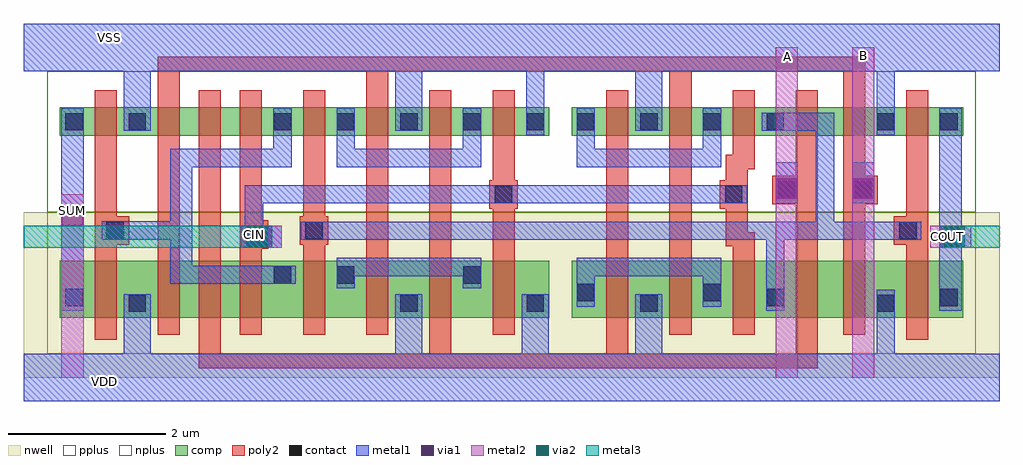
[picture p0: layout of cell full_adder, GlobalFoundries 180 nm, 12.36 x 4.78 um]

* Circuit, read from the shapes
.subckt full_adder A B CIN COUT SUM VDD VSS
XM1 VSS n1 SUM VSUBS nfet_03v3 w=0.36u l=0.28u
XM2 n2 B VSS VSUBS nfet_03v3 w=0.36u l=0.28u
XM3 n3 A n2 VSUBS nfet_03v3 w=0.36u l=0.28u
XM4 n1 CIN n3 VSUBS nfet_03v3 w=0.36u l=0.28u
XM5 n4 n5 n1 VSUBS nfet_03v3 w=0.36u l=0.28u
XM6 VSS B n4 VSUBS nfet_03v3 w=0.36u l=0.28u
XM7 n4 A VSS VSUBS nfet_03v3 w=0.36u l=0.28u
XM8 VSS CIN n4 VSUBS nfet_03v3 w=0.36u l=0.28u
XM9 VSS A n6 VSUBS nfet_03v3 w=0.36u l=0.28u
XM10 n6 B VSS VSUBS nfet_03v3 w=0.36u l=0.28u
XM11 n5 CIN n6 VSUBS nfet_03v3 w=0.36u l=0.28u
XM12 n7 A n5 VSUBS nfet_03v3 w=0.36u l=0.28u
XM13 VSS B n7 VSUBS nfet_03v3 w=0.36u l=0.28u
XM14 COUT n5 VSS VSUBS nfet_03v3 w=0.36u l=0.28u
XM15 VDD n1 SUM n8 pfet_03v3 w=0.72u l=0.28u
XM16 n9 B VDD n8 pfet_03v3 w=0.72u l=0.28u
XM17 n10 A n9 n8 pfet_03v3 w=0.72u l=0.28u
XM18 n1 CIN n10 n8 pfet_03v3 w=0.72u l=0.28u
XM19 n11 n5 n1 n8 pfet_03v3 w=0.72u l=0.28u
XM20 VDD B n11 n8 pfet_03v3 w=0.72u l=0.28u
XM21 n11 A VDD n8 pfet_03v3 w=0.72u l=0.28u
XM22 VDD CIN n11 n8 pfet_03v3 w=0.72u l=0.28u
XM23 VDD A n12 n8 pfet_03v3 w=0.72u l=0.28u
XM24 n12 B VDD n8 pfet_03v3 w=0.72u l=0.28u
XM25 n5 CIN n12 n8 pfet_03v3 w=0.72u l=0.28u
XM26 n13 A n5 n8 pfet_03v3 w=0.72u l=0.28u
XM27 VDD B n13 n8 pfet_03v3 w=0.72u l=0.28u
XM28 COUT n5 VDD n8 pfet_03v3 w=0.72u l=0.28u
.ends

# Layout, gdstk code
import gdstk
lib = gdstk.Library(unit=1e-6, precision=5e-09)
def R(c, l, rs):  # rectangles x0, y0, x1, y1
    for r in rs: c.add(gdstk.rectangle(r[:2], r[2:], *l))
def A(c, l, x, y, w, h, nx, ny, dx, dy):  # array of equal rectangles
    R(c, l, [(x+i*dx, y+j*dy, x+i*dx+w, y+j*dy+h) for i in range(nx) for j in range(ny)])
nwell = (21, 0)
comp = (22, 0)
poly2 = (30, 0)
pplus = (31, 0)
nplus = (32, 0)
contact = (33, 0)
metal1 = (34, 0)
via1 = (35, 0)
metal2 = (36, 0)
via2 = (38, 0)
metal3 = (42, 0)

full_adder = lib.new_cell('full_adder')
R(full_adder, nwell, [(-7.325,-2.205,5.035,-0.115)])
R(full_adder, comp, [(-6.865,-1.445,-0.665,-0.725), (-0.385,-1.445,4.575,-0.725), (-6.865,0.855,-0.665,1.215), (-0.385,0.855,4.575,1.215)])
R(full_adder, poly2, [(-5.105,-2.085,2.735,-1.905), (-5.105,-1.905,-4.825,1.435), (-2.185,-1.905,-1.905,1.435), (0.055,-1.905,0.335,1.435), (2.455,-1.905,2.735,1.435), (-6.425,-1.725,-6.145,1.435), (3.855,-1.725,4.135,1.435), (-5.625,-1.665,-5.345,1.675), (-4.585,-1.665,-4.305,1.435), (-3.785,-1.665,-3.505,1.435), (-2.985,-1.665,-2.705,1.675), (-1.385,-1.665,-1.105,1.435), (0.855,-1.665,1.135,1.675), (1.655,-1.665,1.935,-0.545), (3.055,-1.665,3.335,1.675), (-4.585,-0.575,-4.225,-0.215), (1.57,-0.545,1.935,-0.365), (-6.345,-0.525,-5.985,-0.165), (-3.825,-0.525,-3.465,-0.165), (3.695,-0.525,4.055,-0.165), (1.57,-0.365,1.85,0.435), (-1.425,-0.065,-1.065,0.295), (1.49,-0.065,1.85,0.295), (2.16,-0.01,2.52,0.35), (3.13,-0.01,3.49,0.35), (1.57,0.435,1.935,0.615), (1.655,0.615,1.935,1.435), (-5.625,1.675,3.335,1.855)])
R(full_adder, pplus, [(-7.025,-1.905,4.735,-0.115)])
R(full_adder, nplus, [(-7.025,-0.115,4.735,1.675)])
A(full_adder, contact, -4.155, 0.925, 0.22, 0.22, 5, 1, 0.8, 0)
A(full_adder, contact, -0.315, 0.925, 0.22, 0.22, 4, 1, 0.8, 0)
R(full_adder, contact, [(-5.995,-1.375,-5.775,-1.155), (-2.555,-1.375,-2.335,-1.155), (-0.955,-1.375,-0.735,-1.155), (0.485,-1.375,0.705,-1.155), (3.485,-1.375,3.705,-1.155), (-6.795,-1.3,-6.575,-1.08), (2.085,-1.3,2.305,-1.08), (4.285,-1.3,4.505,-1.08), (-0.315,-1.24,-0.095,-1.02), (1.285,-1.24,1.505,-1.02), (-4.155,-1.015,-3.935,-0.795), (-3.355,-1.015,-3.135,-0.795), (-1.755,-1.015,-1.535,-0.795), (-4.515,-0.505,-4.295,-0.285), (-6.275,-0.455,-6.055,-0.235), (-3.755,-0.455,-3.535,-0.235), (3.765,-0.455,3.985,-0.235), (-1.355,0.005,-1.135,0.225), (1.56,0.005,1.78,0.225), (2.23,0.06,2.45,0.28), (3.2,0.06,3.42,0.28), (-6.795,0.925,-6.575,1.145), (-5.995,0.925,-5.775,1.145), (3.485,0.925,3.705,1.145), (4.285,0.925,4.505,1.145)])
R(full_adder, metal1, [(-7.325,-2.505,5.035,-1.905), (-6.055,-1.905,-5.715,-1.15), (-2.615,-1.905,-2.275,-1.15), (-1.015,-1.905,-0.675,-1.15), (0.425,-1.905,0.765,-1.15), (3.48,-1.905,3.71,-1.095), (-6.845,-1.36,-6.565,1.205), (2.08,-1.36,2.31,-0.46), (4.275,-1.36,4.555,1.205), (-0.32,-1.31,-0.09,-0.69), (1.28,-1.31,1.51,-0.69), (-3.36,-1.075,-3.13,-0.69), (-1.76,-1.075,-1.53,-0.69), (-5.465,-1.02,-3.875,-0.79), (-3.13,-0.92,-1.76,-0.69), (-0.09,-0.92,1.28,-0.69), (-5.465,-0.79,-5.185,0.46), (-4.575,-0.56,-4.055,-0.28), (-4.52,-0.56,-4.29,0), (-6.335,-0.46,-5.465,-0.225), (-3.815,-0.46,4.045,-0.23), (2.71,-0.23,2.94,0.92), (-4.52,0,1.84,0.23), (2.2,0,2.48,0.52), (3.17,0,3.45,0.52), (-5.465,0.46,-4.16,0.69), (-4.16,0.46,-3.93,1.205), (-3.36,0.46,-3.13,1.205), (-3.13,0.46,-1.76,0.69), (-1.76,0.46,-1.53,1.205), (-0.32,0.46,-0.09,1.205), (-0.09,0.46,1.28,0.69), (1.28,0.46,1.51,1.205), (-0.96,0.865,-0.73,1.675), (3.48,0.865,3.71,1.675), (-6.055,0.92,-5.715,1.675), (-2.615,0.92,-2.275,1.675), (0.425,0.92,0.765,1.675), (2.025,0.92,2.94,1.15), (-7.325,1.675,5.035,2.275)])
R(full_adder, via1, [(-4.445,-0.55,-4.185,-0.29), (4.285,-0.55,4.545,-0.29), (-6.835,-0.285,-6.575,-0.025), (2.21,0.06,2.47,0.32), (3.18,0.06,3.44,0.32)])
R(full_adder, metal2, [(-6.845,-2.205,-6.565,0.115), (2.2,-2.205,2.48,1.975), (3.17,-2.205,3.45,1.975), (-4.575,-0.56,-4.055,-0.28), (4.155,-0.56,4.675,-0.28)])
R(full_adder, via2, [(-4.495,-0.55,-4.235,-0.29), (4.335,-0.55,4.595,-0.29)])
R(full_adder, metal3, [(-7.325,-0.56,-4.175,-0.28), (4.275,-0.56,5.035,-0.28)])
full_adder.add(gdstk.Label('A', (2.35,1.86), layer=36, texttype=10))
full_adder.add(gdstk.Label('B', (3.31,1.87), layer=36, texttype=10))
full_adder.add(gdstk.Label('COUT', (4.38,-0.42), layer=34, texttype=10))
full_adder.add(gdstk.Label('CIN', (-4.405,-0.395), layer=34, texttype=10))
full_adder.add(gdstk.Label('SUM', (-6.71,-0.095), layer=34, texttype=10))
full_adder.add(gdstk.Label('VSS', (-6.23,2.095), layer=34, texttype=10))
full_adder.add(gdstk.Label('VDD', (-6.305,-2.255), layer=34, texttype=10))

lib.write_gds('full_adder.gds')
